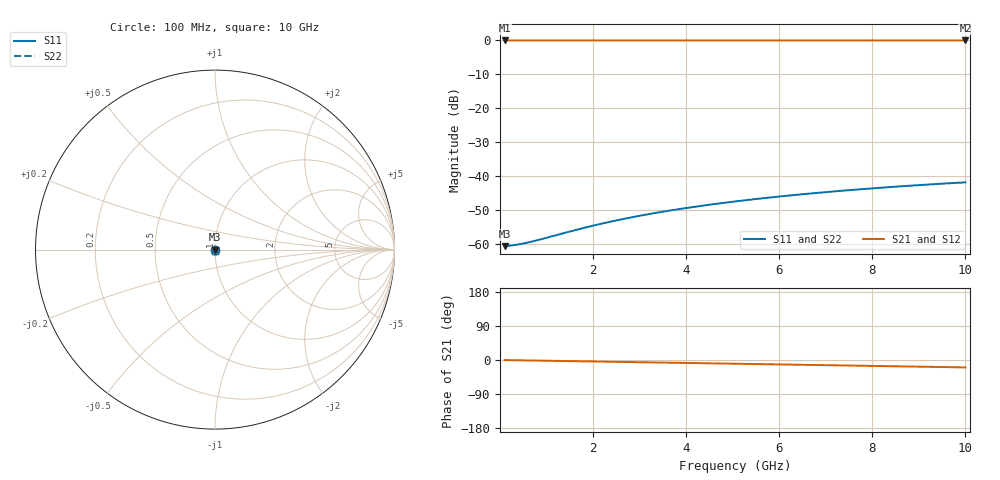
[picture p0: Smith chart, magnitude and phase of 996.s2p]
# Hz S RI R 50.00
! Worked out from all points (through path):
!   100 points, 100 MHz to 10 GHz, reference 50 ohm
!   highest |S21| = -0.01 dB at 100 MHz (marker M1); lowest = 0.0 dB at 10 GHz (marker M2)
!   group delay of S21, straight-line fit = 5.44 ps
!   lowest |S11| = -60.6 dB at 100 MHz (marker M3), VSWR 1.00, Z = 50.1 - j0.00828 ohm
!   |S11| at or under -10 dB: start of sweep to end of sweep
!   |S22| runs from -60.6 to -41.8 dB; largest |S21 - S12| = 0
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1e8  0.000926 -8.27e-05  0.9991 -0.00338  0.9991 -0.00338  0.000926 -8.27e-05
3e8  0.000931 -0.000248  0.999 -0.0101  0.999 -0.0101  0.000931 -0.000248
4e8  0.000932 -0.000331  0.999 -0.0135  0.999 -0.0135  0.000932 -0.000331
6e8  0.000929 -0.000497  0.9988 -0.0203  0.9988 -0.0203  0.000929 -0.000497
9e8  0.000919 -0.000747  0.9986 -0.0304  0.9986 -0.0304  0.000919 -0.000747
1.5e9  0.00088 -0.00125  0.9977 -0.0507  0.9977 -0.0507  0.00088 -0.00125
1.8e9  0.000852 -0.0015  0.9971 -0.0609  0.9971 -0.0609  0.000852 -0.0015
2.2e9  0.000807 -0.00184  0.9962 -0.0744  0.9962 -0.0744  0.000807 -0.00184
2.6e9  0.000751 -0.00217  0.9951 -0.0879  0.9951 -0.0879  0.000751 -0.00217
3e9  0.000686 -0.00251  0.9938 -0.1015  0.9938 -0.1015  0.000686 -0.00251
3.4e9  0.000612 -0.00285  0.9923 -0.115  0.9923 -0.115  0.000612 -0.00285
3.8e9  0.000528 -0.00319  0.9906 -0.1285  0.9906 -0.1285  0.000528 -0.00319
4.2e9  0.000435 -0.00352  0.9888 -0.1419  0.9888 -0.1419  0.000435 -0.00352
4.6e9  0.000333 -0.00386  0.9867 -0.1554  0.9867 -0.1554  0.000333 -0.00386
5.1e9  0.000192 -0.00427  0.9839 -0.1722  0.9839 -0.1722  0.000192 -0.00427
5.5e9  6.87e-05 -0.0046  0.9815 -0.1857  0.9815 -0.1857  6.87e-05 -0.0046
5.9e9  -6.31e-05 -0.00493  0.9788 -0.1991  0.9788 -0.1991  -6.31e-05 -0.00493
6.7e9  -0.000353 -0.00556  0.973 -0.2258  0.973 -0.2258  -0.000353 -0.00556
7.5e9  -0.000675 -0.00618  0.9664 -0.2524  0.9664 -0.2524  -0.000675 -0.00618
8.4e9  -0.00107 -0.00683  0.9581 -0.2822  0.9581 -0.2822  -0.00107 -0.00683
9.2e9  -0.00146 -0.00738  0.9499 -0.3085  0.9499 -0.3085  -0.00146 -0.00738
1e10  -0.00186 -0.00789  0.941 -0.3347  0.941 -0.3347  -0.00186 -0.00789
